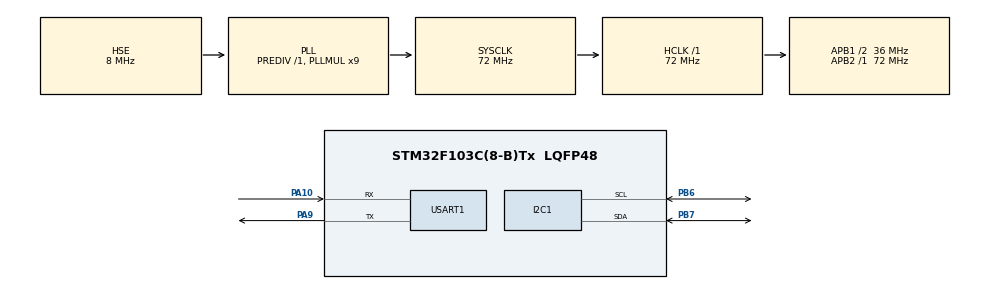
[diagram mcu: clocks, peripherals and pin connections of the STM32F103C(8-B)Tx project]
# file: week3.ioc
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I2C1.I2C_Mode=I2C_Fast
Mcu.Family=STM32F1
Mcu.Name=STM32F103C(8-B)Tx
Mcu.Package=LQFP48
NVIC.PriorityGroup=NVIC_PRIORITYGROUP_4
NVIC.USART1_IRQn=true\:1\:0\:true\:false\:true\:true\:true\:true
PA10.Mode=Asynchronous
PA10.Signal=USART1_RX
PA13.Mode=Serial_Wire
PA13.Signal=SYS_JTMS-SWDIO
PA14.Mode=Serial_Wire
PA14.Signal=SYS_JTCK-SWCLK
PA9.Mode=Asynchronous
PA9.Signal=USART1_TX
PB6.Mode=I2C
PB6.Signal=I2C1_SCL
PB7.Mode=I2C
PB7.Signal=I2C1_SDA
PD0-OSC_IN.Mode=HSE-External-Oscillator
PD0-OSC_IN.Signal=RCC_OSC_IN
PD1-OSC_OUT.Mode=HSE-External-Oscillator
PD1-OSC_OUT.Signal=RCC_OSC_OUT
ProjectManager.HeapSize=0x200
ProjectManager.StackSize=0x400
ProjectManager.TargetToolchain=Makefile
RCC.AHBFreq_Value=72000000
RCC.APB1CLKDivider=RCC_HCLK_DIV2
RCC.APB1Freq_Value=36000000
RCC.APB1TimFreq_Value=72000000
RCC.APB2Freq_Value=72000000
RCC.APB2TimFreq_Value=72000000
RCC.HCLKFreq_Value=72000000
RCC.PLLMUL=RCC_PLL_MUL9
RCC.PLLSourceVirtual=RCC_PLLSOURCE_HSE
RCC.SYSCLKFreq_VALUE=72000000
RCC.SYSCLKSource=RCC_SYSCLKSOURCE_PLLCLK
RCC.USBFreq_Value=72000000
USART1.VirtualMode=VM_ASYNC
board=custom

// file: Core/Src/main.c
/* USER CODE BEGIN Header */
/**
  ******************************************************************************
  * @file           : main.c
  * @brief          : Main program body
  ******************************************************************************
  * @attention
  *
  * Copyright (c) 2026 STMicroelectronics.
  * All rights reserved.
  *
  * This software is licensed under terms that can be found in the LICENSE file
  * in the root directory of this software component.
  * If no LICENSE file comes with this software, it is provided AS-IS.
  *
  ******************************************************************************
  */
/* USER CODE END Header */
#include "main.h"
#include "i2c.h"
#include "usart.h"
#include "gpio.h"

/* USER CODE BEGIN Includes */
#define _USE_MATH_DEFINES
#include "OLED.h"
#include "bsp_usart.h"
#include "math.h"
#include "vofa.h"

/* USER CODE END Includes */

void SystemClock_Config(void);

int main(void)
{

  /* USER CODE BEGIN 1 */
  float t = 0;
  float data[1]= {0};
  uint8_t show1[] = {"sine"};
  uint8_t show2[] = {"sawtooth"};
  uint8_t show3[] = {"square"};
   //float f1 = 11.4, f2 = 51.4, f3 = 0;
  /* USER CODE END 1 */

  /* MCU Configuration--------------------------------------------------------*/

  /* Reset of all peripherals, Initializes the Flash interface and the Systick. */
  HAL_Init();

  /* Configure the system clock */
  SystemClock_Config();

  /* Initialize all configured peripherals */
  MX_GPIO_Init();
  MX_I2C1_Init();
  MX_USART1_UART_Init();
  /* USER CODE BEGIN 2 */
  OLED_init();
  OLED_display_on();
  OLED_LOGO();
  HAL_Delay(1000);
  BSP_USART_Init();
  /* USER CODE END 2 */

  /* Infinite loop */
  while (1)
  {

    /* USER CODE BEGIN 3 */
    // HAL_UART_Receive(&huart1,data,2,HAL_MAX_DELAY);
    // HAL_UART_Transmit(&huart1,data,2,HAL_MAX_DELAY);
    if(t > 1000)
    {
      t = 0;
    }
    OLED_operate_gram(PEN_CLEAR);
    switch(BSP_USART_GetCommand())
    {
      case CMD_NONE:
        OLED_show_string(0, 0, show1);
        data[0] = 2*sin(t*M_PI);
        t += 0.02f;
        Vofa_JustFloat(data, 1);
        HAL_Delay(10);
        OLED_refresh_gram();
        break;
      case CMD_1:
        OLED_show_string(0, 0, show1);
        data[0] = 2*sin(t*M_PI);
        t += 0.02f;
        Vofa_JustFloat(data, 1);
        HAL_Delay(10);
        OLED_refresh_gram();
        break;
      case CMD_2:
        OLED_show_string(0, 0, show2);
        data[0] += 0.04f;
        if(data[0] > 1 || data[0] < -1)
        {
          data[0] = -1;
        }
        Vofa_JustFloat(data, 1);
        HAL_Delay(10);
        OLED_refresh_gram();
        break;
      case CMD_3:
        OLED_show_string(0, 0, show3);
        data[0] = 0.5;
        for(int i = 0; i < 75; i++)
        {
          Vofa_JustFloat(data, 1);
          HAL_Delay(10);
        }
        data[0] = -0.5;
        for(int i = 0; i < 75; i++)
        {
          Vofa_JustFloat(data, 1);
          HAL_Delay(10);
        }
        OLED_refresh_gram();
        break;
    }
    // data[0] = 8*sin(t*M_PI);
    // t += 0.02f;
    // Vofa_JustFloat(data, 1);
    // HAL_Delay(10);
  }
  /* USER CODE END 3 */
}

void SystemClock_Config(void)
{
  RCC_OscInitTypeDef RCC_OscInitStruct = {0};
  RCC_ClkInitTypeDef RCC_ClkInitStruct = {0};

  /** Initializes the RCC Oscillators according to the specified parameters
  * in the RCC_OscInitTypeDef structure.
  */
  RCC_OscInitStruct.OscillatorType = RCC_OSCILLATORTYPE_HSE;
  RCC_OscInitStruct.HSEState = RCC_HSE_ON;
  RCC_OscInitStruct.HSEPredivValue = RCC_HSE_PREDIV_DIV1;
  RCC_OscInitStruct.HSIState = RCC_HSI_ON;
  RCC_OscInitStruct.PLL.PLLState = RCC_PLL_ON;
  RCC_OscInitStruct.PLL.PLLSource = RCC_PLLSOURCE_HSE;
  RCC_OscInitStruct.PLL.PLLMUL = RCC_PLL_MUL9;
  if (HAL_RCC_OscConfig(&RCC_OscInitStruct) != HAL_OK)
  {
    Error_Handler();
  }

  /** Initializes the CPU, AHB and APB buses clocks
  */
  RCC_ClkInitStruct.ClockType = RCC_CLOCKTYPE_HCLK|RCC_CLOCKTYPE_SYSCLK
                              |RCC_CLOCKTYPE_PCLK1|RCC_CLOCKTYPE_PCLK2;
  RCC_ClkInitStruct.SYSCLKSource = RCC_SYSCLKSOURCE_PLLCLK;
  RCC_ClkInitStruct.AHBCLKDivider = RCC_SYSCLK_DIV1;
  RCC_ClkInitStruct.APB1CLKDivider = RCC_HCLK_DIV2;
  RCC_ClkInitStruct.APB2CLKDivider = RCC_HCLK_DIV1;

  if (HAL_RCC_ClockConfig(&RCC_ClkInitStruct, FLASH_LATENCY_2) != HAL_OK)
  {
    Error_Handler();
  }
}

void Error_Handler(void)
{
  __disable_irq();
  while (1)
  {
  }
}
